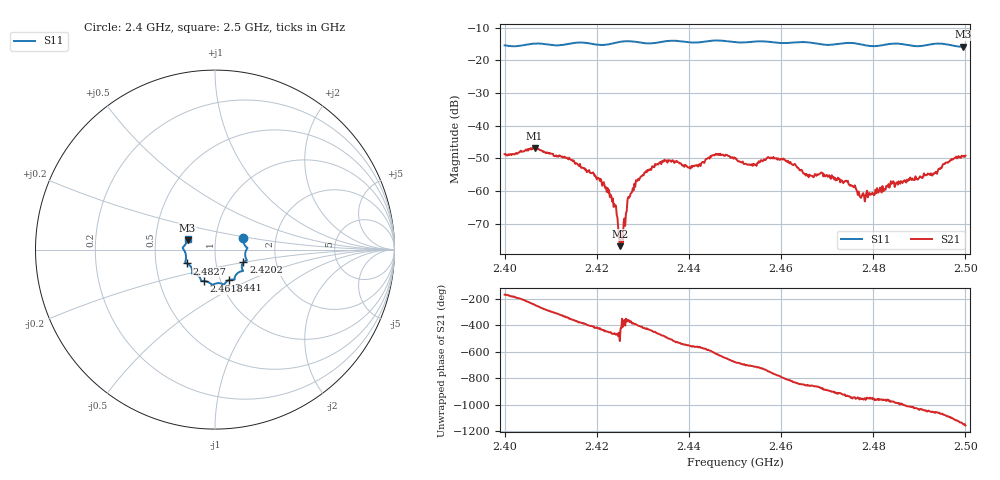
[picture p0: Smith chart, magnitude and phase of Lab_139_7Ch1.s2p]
# Hz S RI R 50
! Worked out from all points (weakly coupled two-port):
!   601 points, 2.4 GHz to 2.5 GHz, reference 50 ohm
!   highest |S21| = -46.78 dB at 2.4065 GHz (marker M1); lowest = -76.8 dB at 2.425 GHz (marker M2)
!   lowest |S11| = -15.8 dB at 2.4995 GHz (marker M3), VSWR 1.39, Z = 36.5 + j4.02 ohm
!   |S11| at or under -10 dB: start of sweep to end of sweep
!   S12 and S22 are empty: the file has one direction only
!   S11 on the Smith chart (normalised r, x): 2.4 GHz: 1.36, +0.18; 2.4202 GHz: 1.36, -0.20; 2.441 GHz: 1.10, -0.39; 2.4618 GHz: 0.84, -0.30; 2.4827 GHz: 0.72, -0.11; 2.5 GHz: 0.73, +0.09
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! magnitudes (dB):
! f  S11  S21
! 2.4 GHz  -15.4  -48.7
! 2.4065 GHz  -14.9  -46.8
! 2.4167 GHz  -14.5  -52.9
! 2.4202 GHz  -15.2  -55.9
! 2.4237 GHz  -14.7  -64.9
! 2.425 GHz  -14.4  -76.8
! 2.4253 GHz  -14.3  -74.6
! 2.4268 GHz  -14.1  -61.8
! 2.4283 GHz  -14.3  -58.7
! 2.4333 GHz  -14.5  -51.9
! 2.441 GHz  -14.6  -52.4
! 2.4457 GHz  -13.9  -48.9
! 2.45 GHz  -14.4  -50.0
! 2.4618 GHz  -14.6  -51.5
! 2.4667 GHz  -14.6  -55.3
! 2.4742 GHz  -14.7  -56.8
! 2.4777 GHz  -15.2  -60.8
! 2.4827 GHz  -15.2  -59.5
! 2.4833 GHz  -15.0  -57.8
! 2.4933 GHz  -14.9  -54.3
! 2.4995 GHz  -15.8  -49.4
! 2.5 GHz  -15.7  -49.1
